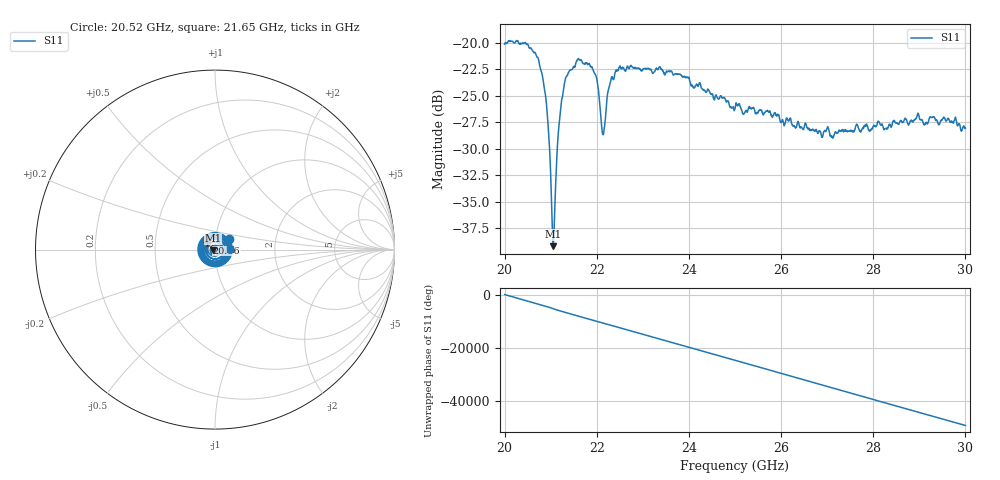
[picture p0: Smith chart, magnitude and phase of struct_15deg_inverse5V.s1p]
#  HZ  S  RI  R  50.00
! Rohde & Schwarz ZVA40 4Ports - Version 3.90 - 1145.1110k42 SN: 100403
! Date: 2023-09-30 06:23:09
! Measurement: S12
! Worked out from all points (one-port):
!   5001 points, 20 GHz to 30 GHz, reference 50 ohm
!   lowest |S11| = -39.2 dB at 21.05 GHz (marker M1), VSWR 1.02, Z = 49 - j0.297 ohm
!   |S11| at or under -10 dB: start of sweep to end of sweep
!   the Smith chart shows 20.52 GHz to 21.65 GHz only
!   S11 on the Smith chart (normalised r, x): 20.52 GHz: 1.16, +0.14; 20.86 GHz: 0.91, +0.07; 21.65 GHz: 1.18, +0.01
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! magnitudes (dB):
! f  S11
! 20 GHz  -20.1
! 20.52 GHz  -20.3
! 20.7 GHz  -21.3
! 20.86 GHz  -24.2
! 20.94 GHz  -27.7
! 21.02 GHz  -35.6
! 21.05 GHz  -39.2
! 21.08 GHz  -36.2
! 21.14 GHz  -30.3
! 21.18 GHz  -28.0
! 21.25 GHz  -25.2
! 21.36 GHz  -23.0
! 21.65 GHz  -21.6
! 21.96 GHz  -22.9
! 22.02 GHz  -23.9
! 22.1 GHz  -27.6
! 22.14 GHz  -28.7
! 22.28 GHz  -23.9
! 22.5 GHz  -22.2
! 23.75 GHz  -22.9
! 25 GHz  -26.2
! 25.72 GHz  -26.5
! 26.25 GHz  -27.8
! 27.11 GHz  -28.8
! 27.5 GHz  -28.3
! 28.75 GHz  -27.6
! 29.28 GHz  -27.0
! 30 GHz  -28.0
